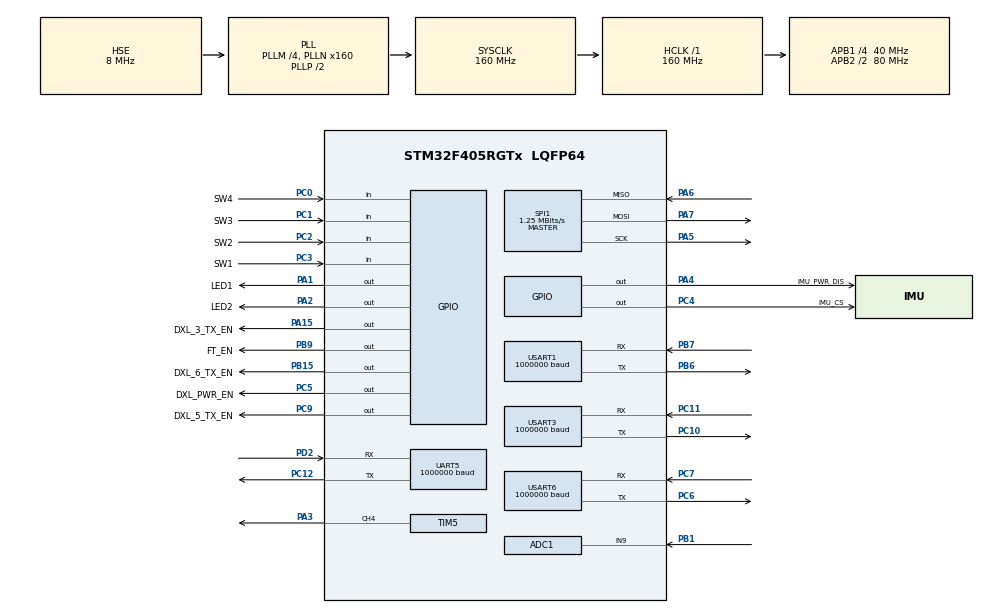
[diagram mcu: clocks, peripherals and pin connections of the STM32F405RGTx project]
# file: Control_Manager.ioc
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ADC1.Channel-0\#ChannelRegularConversion=ADC_CHANNEL_9
ADC1.ClockPrescaler=ADC_CLOCK_SYNC_PCLK_DIV4
ADC1.ContinuousConvMode=DISABLE
ADC1.DMAContinuousRequests=DISABLE
ADC1.DataAlign=ADC_DATAALIGN_RIGHT
ADC1.DiscontinuousConvMode=DISABLE
ADC1.EOCSelection=ADC_EOC_SINGLE_CONV
ADC1.EnableAnalogWatchDog=false
ADC1.ExternalTrigConv=ADC_SOFTWARE_START
ADC1.ExternalTrigConvEdge=ADC_EXTERNALTRIGCONVEDGE_NONE
ADC1.InjNumberOfConversion=0
ADC1.NbrOfConversion=1
ADC1.NbrOfConversionFlag=1
ADC1.Rank-0\#ChannelRegularConversion=1
ADC1.Resolution=ADC_RESOLUTION_8B
ADC1.SamplingTime-0\#ChannelRegularConversion=ADC_SAMPLETIME_3CYCLES
ADC1.ScanConvMode=DISABLE
ADC1.master=1
Mcu.Family=STM32F4
Mcu.Name=STM32F405RGTx
Mcu.Package=LQFP64
NVIC.PriorityGroup=NVIC_PRIORITYGROUP_2
NVIC.UART5_IRQn=true\:2\:1\:true\:false\:true\:true\:true\:true
NVIC.USART1_IRQn=true\:1\:0\:true\:false\:true\:true\:true\:true
NVIC.USART3_IRQn=true\:2\:0\:true\:false\:true\:true\:true\:true
NVIC.USART6_IRQn=true\:2\:2\:true\:false\:true\:true\:true\:true
PA1.GPIO_Label=LED1
PA1.GPIO_Speed=GPIO_SPEED_FREQ_MEDIUM
PA1.Signal=GPIO_Output
PA13.Mode=Serial_Wire
PA13.Signal=SYS_JTMS-SWDIO
PA14.Mode=Serial_Wire
PA14.Signal=SYS_JTCK-SWCLK
PA15.GPIO_Label=DXL_3_TX_EN
PA15.GPIO_Speed=GPIO_SPEED_FREQ_HIGH
PA15.Signal=GPIO_Output
PA2.GPIO_Label=LED2
PA2.GPIO_Speed=GPIO_SPEED_FREQ_MEDIUM
PA2.Signal=GPIO_Output
PA3.Signal=S_TIM5_CH4
PA4.GPIO_Label=IMU_PWR_DIS
PA4.GPIO_ModeDefaultOutputPP=GPIO_MODE_OUTPUT_OD
PA4.Signal=GPIO_Output
PA5.Mode=Full_Duplex_Master
PA5.Signal=SPI1_SCK
PA6.Mode=Full_Duplex_Master
PA6.Signal=SPI1_MISO
PA7.Mode=Full_Duplex_Master
PA7.Signal=SPI1_MOSI
PB1.Signal=ADCx_IN9
PB15.GPIO_Label=DXL_6_TX_EN
PB15.GPIO_Speed=GPIO_SPEED_FREQ_HIGH
PB15.Signal=GPIO_Output
PB6.Mode=Asynchronous
PB6.Signal=USART1_TX
PB7.Mode=Asynchronous
PB7.Signal=USART1_RX
PB9.GPIO_Label=FT_EN
PB9.GPIO_ModeDefaultOutputPP=GPIO_MODE_OUTPUT_OD
PB9.Signal=GPIO_Output
PC0.GPIO_Label=SW4
PC0.GPIO_PuPd=GPIO_NOPULL
PC0.Signal=GPIO_Input
PC1.GPIO_Label=SW3
PC1.GPIO_PuPd=GPIO_NOPULL
PC1.Signal=GPIO_Input
PC10.Mode=Asynchronous
PC10.Signal=USART3_TX
PC11.Mode=Asynchronous
PC11.Signal=USART3_RX
PC12.Mode=Asynchronous
PC12.Signal=UART5_TX
PC2.GPIO_Label=SW2
PC2.GPIO_PuPd=GPIO_NOPULL
PC2.Signal=GPIO_Input
PC3.GPIO_Label=SW1
PC3.GPIO_PuPd=GPIO_NOPULL
PC3.Signal=GPIO_Input
PC4.GPIO_Label=IMU_CS
PC4.GPIO_PuPd=GPIO_PULLUP
PC4.GPIO_Speed=GPIO_SPEED_FREQ_VERY_HIGH
PC4.Signal=GPIO_Output
PC5.GPIO_Label=DXL_PWR_EN
PC5.GPIO_PuPd=GPIO_PULLDOWN
PC5.GPIO_Speed=GPIO_SPEED_FREQ_LOW
PC5.Signal=GPIO_Output
PC6.Mode=Asynchronous
PC6.Signal=USART6_TX
PC7.Mode=Asynchronous
PC7.Signal=USART6_RX
PC9.GPIO_Label=DXL_5_TX_EN
PC9.GPIO_Speed=GPIO_SPEED_FREQ_HIGH
PC9.Signal=GPIO_Output
PD2.Mode=Asynchronous
PD2.Signal=UART5_RX
PH0-OSC_IN.Mode=HSE-External-Oscillator
PH0-OSC_IN.Signal=RCC_OSC_IN
PH1-OSC_OUT.Mode=HSE-External-Oscillator
PH1-OSC_OUT.Signal=RCC_OSC_OUT
ProjectManager.HeapSize=0x1000
ProjectManager.StackSize=0x2000
ProjectManager.TargetToolchain=MDK-ARM V5
RCC.48MHZClocksFreq_Value=80000000
RCC.AHBFreq_Value=160000000
RCC.APB1CLKDivider=RCC_HCLK_DIV4
RCC.APB1Freq_Value=40000000
RCC.APB1TimFreq_Value=80000000
RCC.APB2CLKDivider=RCC_HCLK_DIV2
RCC.APB2Freq_Value=80000000
RCC.APB2TimFreq_Value=160000000
RCC.CortexFreq_Value=160000000
RCC.HCLKFreq_Value=160000000
RCC.HSE_VALUE=8000000
RCC.HSI_VALUE=16000000
RCC.LSE_VALUE=32768
RCC.PLLM=4
RCC.PLLN=160
RCC.PLLSourceVirtual=RCC_PLLSOURCE_HSE
RCC.SYSCLKFreq_VALUE=160000000
RCC.SYSCLKSource=RCC_SYSCLKSOURCE_PLLCLK
RCC.VCOOutputFreq_Value=320000000
SH.ADCx_IN9.0=ADC1_IN9,IN9
SH.S_TIM5_CH4.0=TIM5_CH4,PWM Generation4 CH4
SPI1.BaudRatePrescaler=SPI_BAUDRATEPRESCALER_64
SPI1.CLKPolarity=SPI_POLARITY_LOW
SPI1.CalculateBaudRate=1.25 MBits/s
SPI1.Direction=SPI_DIRECTION_2LINES
SPI1.Mode=SPI_MODE_MASTER
SPI1.VirtualType=VM_MASTER
TIM2.Period=4000000000
TIM2.Prescaler=9
TIM5.Channel-PWM\ Generation4\ CH4=TIM_CHANNEL_4
TIM5.Period=2000
TIM5.Prescaler=40000
TIM5.Pulse-PWM\ Generation4\ CH4=250
UART5.BaudRate=1000000
UART5.VirtualMode=Asynchronous
USART1.BaudRate=1000000
USART1.VirtualMode=VM_ASYNC
USART3.BaudRate=1000000
USART3.VirtualMode=VM_ASYNC
USART6.BaudRate=1000000
USART6.VirtualMode=VM_ASYNC
VP_TIM2_VS_ClockSourceINT.Mode=Internal
board=Control_Manager

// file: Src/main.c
/* USER CODE BEGIN Header */
/**
  ******************************************************************************
  * @file           : main.c
  * @brief          : Main program body
  ******************************************************************************
  * @attention
  *
  * Copyright (c) 2022 STMicroelectronics.
  * All rights reserved.
  *
  * This software is licensed under terms that can be found in the LICENSE file
  * in the root directory of this software component.
  * If no LICENSE file comes with this software, it is provided AS-IS.
  *
  ******************************************************************************
  */
/* USER CODE END Header */
#include "main.h"

/* USER CODE BEGIN Includes */
#include "HAL_MPU9250.h"
#include "sbzrgnCM.h"
#include "attitude_estimator.hpp"
#include "eeprom.h"

//#define TEENSIZE
#define KIDSIZE

#define M_PI                3.1415926535897932384626433832795
#define QUEUE_SIZE					30
#define ZERO_MAX            20
#define ZERO_MIN           -20
#define BATT_TRESHOLD       11
#define BATT_SCALE          0.054

using namespace stateestimation;
/* USER CODE END Includes */

 ADC_HandleTypeDef hadc1;

SPI_HandleTypeDef hspi1;

TIM_HandleTypeDef htim2;
TIM_HandleTypeDef htim5;

UART_HandleTypeDef huart5;
UART_HandleTypeDef huart1;
UART_HandleTypeDef huart3;
UART_HandleTypeDef huart6;

/* USER CODE BEGIN PV */
/* Private variables ---------------------------------------------------------*/
MPU9250TypeDef MPU9250;

USBLineTypeDef MasterLine1 ; // USART1 (MainBoard)

UARTLineTypeDef SlaveLine1 ; // USART3

UARTLineTypeDef SlaveLine2 ; // USART5

UARTLineTypeDef SlaveLine3 ; // USART6

AttitudeEstimator Est(true);
///////////////////////////////////////////////////////////////////////////////////////////////////
double SB_Timer_Value = 0;
double SB_Timer_Scale = 0;
///////////////////////////////////////////////////////////////////////////////////////////////////
uint8_t Switch1_State = 0;
uint8_t Switch2_State = 0;
uint8_t Switch3_State = 0;
uint8_t Switch4_State = 0;
///////////////////////////////////////////////////////////////////////////////////////////////////
double BatteryVoltage = 0;
uint8_t Shifted_BatteryVoltage = 0;
uint16_t SB_LowBatteryCounter = 0;
uint16_t SB_BuzzerState = 0;
///////////////////////////////////////////////////////////////////////////////////////////////////
uint8_t IMU_Buffer[14] = {0,0,0,0,0,0,0,0,0,0,0,0,0,0};
uint16_t CHECK = 0;

double Roll = 0, Pitch = 0, Yaw = 0;
uint16_t Shifted_Roll = 0, Shifted_Pitch = 0, Shifted_Yaw = 0;

int16_t Raw_Accel[3] = {0,0,0};
uint16_t Shifted_Accel_X = 0, Shifted_Accel_Y = 0, Shifted_Accel_Z = 0;
int16_t Last_Raw_Accel_X = 0, Last_Raw_Accel_Y = 0, Last_Raw_Accel_Z = 0;
double AX = 0, AY = 0, AZ = 0;

int16_t Raw_Gyro[3] = {0,0,0};
uint16_t Shifted_Gyro_X = 0, Shifted_Gyro_Y = 0, Shifted_Gyro_Z = 0;
int16_t Last_Raw_Gyro_X = 0, Last_Raw_Gyro_Y = 0, Last_Raw_Gyro_Z = 0;
double GX = 0, GY = 0, GZ = 0;
uint8_t CalibCounter = 0;
///////////////////////////////////////////////////////////////////////////////////////////////////
uint16_t Loop_Counter = 0;
uint8_t nReadyPackets = 0;
int16_t lastSentIndex = -1;
uint16_t Queue[QUEUE_SIZE];
uint8_t MainBoard_ResponsePacket[100];
uint8_t LookupTable[200];

int16_t GX_Off = 0, GY_Off = 0, GZ_Off = 0, AX_Off = 0, AY_Off = 0, AZ_Off = 0;
int16_t EERead_GX_OFF, EERead_GY_OFF, EERead_GZ_OFF, EERead_AX_OFF, EERead_AY_OFF, EERead_AZ_OFF;
uint8_t Calibrated;
/* USER CODE END PV */

void SystemClock_Config(void);
static void MX_GPIO_Init(void);
static void MX_ADC1_Init(void);
static void MX_USART6_UART_Init(void);
static void MX_TIM2_Init(void);
static void MX_TIM5_Init(void);
static void MX_SPI1_Init(void);
static void MX_UART5_Init(void);
static void MX_USART3_UART_Init(void);
static void MX_USART1_UART_Init(void);
/* USER CODE BEGIN PFP */
/* Private function prototypes -----------------------------------------------*/
uint8_t Master_CheckPacket(UART_HandleTypeDef *UARTx, USBLineTypeDef* master);
SB_StatusTypeDef Slave_CheckPacket(UART_HandleTypeDef *UARTx, UARTLineTypeDef* slave);
void MainBoard_ReadRegister(uint8_t *packet);
void MainBoard_WriteRegister(uint8_t *packet);
void Queue_Data_Send(void);
uint8_t DXL_CheckSumCalc(uint8_t *packet);
void IMU_PWR_Reset(void);
void IMU_Init(void);
void IMU_Filter_Init(void);
void IMU_Update(void);
void IMU_Filter_Update(void);
void Button_Update(void);
double ReadVoltage(void);
void Battery_Update(void);
void LookUpTable_Update(void);
void Struct_Initializer(USBLineTypeDef* stct);
void Debugger(void);
void Calibration_Init(void);
void Calibration(void);
void set_offset(void);
/* USER CODE END PFP */

int main(void)
{

  /* MCU Configuration--------------------------------------------------------*/

  /* Reset of all peripherals, Initializes the Flash interface and the Systick. */
  HAL_Init();

  /* Configure the system clock */
  SystemClock_Config();

  /* USER CODE BEGIN SysInit */
	HAL_FLASH_Unlock();
	EE_Init();
  /* USER CODE END SysInit */

  /* Initialize all configured peripherals */
  MX_GPIO_Init();
  MX_ADC1_Init();
  MX_USART6_UART_Init();
  MX_TIM2_Init();
  MX_TIM5_Init();
  MX_SPI1_Init();
  MX_UART5_Init();
  MX_USART3_UART_Init();
  MX_USART1_UART_Init();
  /* USER CODE BEGIN 2 */
	//Buffer Configration
	Struct_Initializer(&MasterLine1);

	SlaveLine1.BufferCurrentIndex = 0;
	SlaveLine1.CurrentState = 0;
	SlaveLine1.Length = 0;

	SlaveLine2.BufferCurrentIndex = 0;
	SlaveLine2.CurrentState = 0;
	SlaveLine2.Length = 0;

	SlaveLine3.BufferCurrentIndex = 0;
	SlaveLine3.CurrentState = 0;
	SlaveLine3.Length = 0;

	MainBoard_ResponsePacket[0] = 255;
	MainBoard_ResponsePacket[1] = 255;
	MainBoard_ResponsePacket[2] = MY_ID;

	IMU_Init();

	IMU_Filter_Init();

	//Calibration();

	HAL_UART_Receive_IT(&huart3, &SlaveLine1.InputData, 1);
	HAL_UART_Receive_IT(&huart5, &SlaveLine2.InputData, 1);
	HAL_UART_Receive_IT(&huart6, &SlaveLine3.InputData, 1);
	HAL_UART_Receive_IT(&huart1, &MasterLine1.InputData, 1);

	HAL_GPIO_WritePin(FT_EN_GPIO_Port,FT_EN_Pin,GPIO_PIN_SET);

	EE_ReadVariable(0, &EERead_GX_OFF);
	EE_ReadVariable(1, &EERead_GY_OFF);
	EE_ReadVariable(2, &EERead_GZ_OFF);
	EE_ReadVariable(3, &EERead_AX_OFF);
	EE_ReadVariable(4, &EERead_AY_OFF);
	EE_ReadVariable(5, &EERead_AZ_OFF);

  /* USER CODE END 2 */

  /* Infinite loop */
  while (1)
  {

    /* USER CODE BEGIN 3 */
		Button_Update();

		IMU_Update();

		IMU_Filter_Update();

		Battery_Update();

		if(Loop_Counter == 2000)
		{
			//TeeeeEST
			HAL_GPIO_TogglePin(LED1_GPIO_Port,LED1_Pin);
			HAL_GPIO_TogglePin(LED2_GPIO_Port,LED2_Pin);
			//TeeeeEST
			Loop_Counter = 0;
		}
		Loop_Counter++;

		LookUpTable_Update();

		Debugger();
  }
  /* USER CODE END 3 */
}

void SystemClock_Config(void)
{
  RCC_OscInitTypeDef RCC_OscInitStruct = {0};
  RCC_ClkInitTypeDef RCC_ClkInitStruct = {0};

  /** Configure the main internal regulator output voltage
  */
  __HAL_RCC_PWR_CLK_ENABLE();
  __HAL_PWR_VOLTAGESCALING_CONFIG(PWR_REGULATOR_VOLTAGE_SCALE1);

  /** Initializes the RCC Oscillators according to the specified parameters
  * in the RCC_OscInitTypeDef structure.
  */
  RCC_OscInitStruct.OscillatorType = RCC_OSCILLATORTYPE_HSE;
  RCC_OscInitStruct.HSEState = RCC_HSE_ON;
  RCC_OscInitStruct.PLL.PLLState = RCC_PLL_ON;
  RCC_OscInitStruct.PLL.PLLSource = RCC_PLLSOURCE_HSE;
  RCC_OscInitStruct.PLL.PLLM = 4;
  RCC_OscInitStruct.PLL.PLLN = 160;
  RCC_OscInitStruct.PLL.PLLP = RCC_PLLP_DIV2;
  RCC_OscInitStruct.PLL.PLLQ = 4;
  if (HAL_RCC_OscConfig(&RCC_OscInitStruct) != HAL_OK)
  {
    Error_Handler();
  }

  /** Initializes the CPU, AHB and APB buses clocks
  */
  RCC_ClkInitStruct.ClockType = RCC_CLOCKTYPE_HCLK|RCC_CLOCKTYPE_SYSCLK
                              |RCC_CLOCKTYPE_PCLK1|RCC_CLOCKTYPE_PCLK2;
  RCC_ClkInitStruct.SYSCLKSource = RCC_SYSCLKSOURCE_PLLCLK;
  RCC_ClkInitStruct.AHBCLKDivider = RCC_SYSCLK_DIV1;
  RCC_ClkInitStruct.APB1CLKDivider = RCC_HCLK_DIV4;
  RCC_ClkInitStruct.APB2CLKDivider = RCC_HCLK_DIV2;

  if (HAL_RCC_ClockConfig(&RCC_ClkInitStruct, FLASH_LATENCY_5) != HAL_OK)
  {
    Error_Handler();
  }
}

static void MX_ADC1_Init(void)
{

  ADC_ChannelConfTypeDef sConfig = {0};

  /** Configure the global features of the ADC (Clock, Resolution, Data Alignment and number of conversion)
  */
  hadc1.Instance = ADC1;
  hadc1.Init.ClockPrescaler = ADC_CLOCK_SYNC_PCLK_DIV4;
  hadc1.Init.Resolution = ADC_RESOLUTION_8B;
  hadc1.Init.ScanConvMode = DISABLE;
  hadc1.Init.ContinuousConvMode = DISABLE;
  hadc1.Init.DiscontinuousConvMode = DISABLE;
  hadc1.Init.ExternalTrigConvEdge = ADC_EXTERNALTRIGCONVEDGE_NONE;
  hadc1.Init.ExternalTrigConv = ADC_SOFTWARE_START;
  hadc1.Init.DataAlign = ADC_DATAALIGN_RIGHT;
  hadc1.Init.NbrOfConversion = 1;
  hadc1.Init.DMAContinuousRequests = DISABLE;
  hadc1.Init.EOCSelection = ADC_EOC_SINGLE_CONV;
  if (HAL_ADC_Init(&hadc1) != HAL_OK)
  {
    Error_Handler();
  }

  /** Configure for the selected ADC regular channel its corresponding rank in the sequencer and its sample time.
  */
  sConfig.Channel = ADC_CHANNEL_9;
  sConfig.Rank = 1;
  sConfig.SamplingTime = ADC_SAMPLETIME_3CYCLES;
  if (HAL_ADC_ConfigChannel(&hadc1, &sConfig) != HAL_OK)
  {
    Error_Handler();
  }

}

static void MX_SPI1_Init(void)
{

  /* SPI1 parameter configuration*/
  hspi1.Instance = SPI1;
  hspi1.Init.Mode = SPI_MODE_MASTER;
  hspi1.Init.Direction = SPI_DIRECTION_2LINES;
  hspi1.Init.DataSize = SPI_DATASIZE_8BIT;
  hspi1.Init.CLKPolarity = SPI_POLARITY_LOW;
  hspi1.Init.CLKPhase = SPI_PHASE_1EDGE;
  hspi1.Init.NSS = SPI_NSS_SOFT;
  hspi1.Init.BaudRatePrescaler = SPI_BAUDRATEPRESCALER_64;
  hspi1.Init.FirstBit = SPI_FIRSTBIT_MSB;
  hspi1.Init.TIMode = SPI_TIMODE_DISABLE;
  hspi1.Init.CRCCalculation = SPI_CRCCALCULATION_DISABLE;
  hspi1.Init.CRCPolynomial = 10;
  if (HAL_SPI_Init(&hspi1) != HAL_OK)
  {
    Error_Handler();
  }

}

static void MX_TIM2_Init(void)
{

  TIM_ClockConfigTypeDef sClockSourceConfig = {0};
  TIM_MasterConfigTypeDef sMasterConfig = {0};

  htim2.Instance = TIM2;
  htim2.Init.Prescaler = 9;
  htim2.Init.CounterMode = TIM_COUNTERMODE_UP;
  htim2.Init.Period = 4000000000;
  htim2.Init.ClockDivision = TIM_CLOCKDIVISION_DIV1;
  htim2.Init.AutoReloadPreload = TIM_AUTORELOAD_PRELOAD_DISABLE;
  if (HAL_TIM_Base_Init(&htim2) != HAL_OK)
  {
    Error_Handler();
  }
  sClockSourceConfig.ClockSource = TIM_CLOCKSOURCE_INTERNAL;
  if (HAL_TIM_ConfigClockSource(&htim2, &sClockSourceConfig) != HAL_OK)
  {
    Error_Handler();
  }
  sMasterConfig.MasterOutputTrigger = TIM_TRGO_RESET;
  sMasterConfig.MasterSlaveMode = TIM_MASTERSLAVEMODE_DISABLE;
  if (HAL_TIMEx_MasterConfigSynchronization(&htim2, &sMasterConfig) != HAL_OK)
  {
    Error_Handler();
  }

}

static void MX_TIM5_Init(void)
{

  TIM_MasterConfigTypeDef sMasterConfig = {0};
  TIM_OC_InitTypeDef sConfigOC = {0};

  htim5.Instance = TIM5;
  htim5.Init.Prescaler = 40000;
  htim5.Init.CounterMode = TIM_COUNTERMODE_UP;
  htim5.Init.Period = 2000;
  htim5.Init.ClockDivision = TIM_CLOCKDIVISION_DIV1;
  htim5.Init.AutoReloadPreload = TIM_AUTORELOAD_PRELOAD_DISABLE;
  if (HAL_TIM_PWM_Init(&htim5) != HAL_OK)
  {
    Error_Handler();
  }
  sMasterConfig.MasterOutputTrigger = TIM_TRGO_RESET;
  sMasterConfig.MasterSlaveMode = TIM_MASTERSLAVEMODE_DISABLE;
  if (HAL_TIMEx_MasterConfigSynchronization(&htim5, &sMasterConfig) != HAL_OK)
  {
    Error_Handler();
  }
  sConfigOC.OCMode = TIM_OCMODE_PWM1;
  sConfigOC.Pulse = 250;
  sConfigOC.OCPolarity = TIM_OCPOLARITY_HIGH;
  sConfigOC.OCFastMode = TIM_OCFAST_DISABLE;
  if (HAL_TIM_PWM_ConfigChannel(&htim5, &sConfigOC, TIM_CHANNEL_4) != HAL_OK)
  {
    Error_Handler();
  }
  HAL_TIM_MspPostInit(&htim5);

}

static void MX_UART5_Init(void)
{

  huart5.Instance = UART5;
  huart5.Init.BaudRate = 1000000;
  huart5.Init.WordLength = UART_WORDLENGTH_8B;
  huart5.Init.StopBits = UART_STOPBITS_1;
  huart5.Init.Parity = UART_PARITY_NONE;
  huart5.Init.Mode = UART_MODE_TX_RX;
  huart5.Init.HwFlowCtl = UART_HWCONTROL_NONE;
  huart5.Init.OverSampling = UART_OVERSAMPLING_16;
  if (HAL_UART_Init(&huart5) != HAL_OK)
  {
    Error_Handler();
  }

}

static void MX_USART1_UART_Init(void)
{

  huart1.Instance = USART1;
  huart1.Init.BaudRate = 1000000;
  huart1.Init.WordLength = UART_WORDLENGTH_8B;
  huart1.Init.StopBits = UART_STOPBITS_1;
  huart1.Init.Parity = UART_PARITY_NONE;
  huart1.Init.Mode = UART_MODE_TX_RX;
  huart1.Init.HwFlowCtl = UART_HWCONTROL_NONE;
  huart1.Init.OverSampling = UART_OVERSAMPLING_16;
  if (HAL_UART_Init(&huart1) != HAL_OK)
  {
    Error_Handler();
  }

}

static void MX_USART3_UART_Init(void)
{

  huart3.Instance = USART3;
  huart3.Init.BaudRate = 1000000;
  huart3.Init.WordLength = UART_WORDLENGTH_8B;
  huart3.Init.StopBits = UART_STOPBITS_1;
  huart3.Init.Parity = UART_PARITY_NONE;
  huart3.Init.Mode = UART_MODE_TX_RX;
  huart3.Init.HwFlowCtl = UART_HWCONTROL_NONE;
  huart3.Init.OverSampling = UART_OVERSAMPLING_16;
  if (HAL_UART_Init(&huart3) != HAL_OK)
  {
    Error_Handler();
  }

}

static void MX_USART6_UART_Init(void)
{

  huart6.Instance = USART6;
  huart6.Init.BaudRate = 1000000;
  huart6.Init.WordLength = UART_WORDLENGTH_8B;
  huart6.Init.StopBits = UART_STOPBITS_1;
  huart6.Init.Parity = UART_PARITY_NONE;
  huart6.Init.Mode = UART_MODE_TX_RX;
  huart6.Init.HwFlowCtl = UART_HWCONTROL_NONE;
  huart6.Init.OverSampling = UART_OVERSAMPLING_16;
  if (HAL_UART_Init(&huart6) != HAL_OK)
  {
    Error_Handler();
  }

}

static void MX_GPIO_Init(void)
{
  GPIO_InitTypeDef GPIO_InitStruct = {0};

  /* GPIO Ports Clock Enable */
  __HAL_RCC_GPIOC_CLK_ENABLE();
  __HAL_RCC_GPIOH_CLK_ENABLE();
  __HAL_RCC_GPIOA_CLK_ENABLE();
  __HAL_RCC_GPIOB_CLK_ENABLE();
  __HAL_RCC_GPIOD_CLK_ENABLE();

  /*Configure GPIO pin Output Level */
  HAL_GPIO_WritePin(GPIOA, LED1_Pin|LED2_Pin|IMU_PWR_DIS_Pin|DXL_3_TX_EN_Pin, GPIO_PIN_RESET);

  /*Configure GPIO pin Output Level */
  HAL_GPIO_WritePin(GPIOC, IMU_CS_Pin|DXL_PWR_EN_Pin|DXL_5_TX_EN_Pin, GPIO_PIN_RESET);

  /*Configure GPIO pin Output Level */
  HAL_GPIO_WritePin(GPIOB, DXL_6_TX_EN_Pin|FT_EN_Pin, GPIO_PIN_RESET);

  /*Configure GPIO pins : PC13 PC14 PC15 PC8 */
  GPIO_InitStruct.Pin = GPIO_PIN_13|GPIO_PIN_14|GPIO_PIN_15|GPIO_PIN_8;
  GPIO_InitStruct.Mode = GPIO_MODE_ANALOG;
  GPIO_InitStruct.Pull = GPIO_NOPULL;
  HAL_GPIO_Init(GPIOC, &GPIO_InitStruct);

  /*Configure GPIO pins : SW4_Pin SW3_Pin SW2_Pin SW1_Pin */
  GPIO_InitStruct.Pin = SW4_Pin|SW3_Pin|SW2_Pin|SW1_Pin;
  GPIO_InitStruct.Mode = GPIO_MODE_INPUT;
  GPIO_InitStruct.Pull = GPIO_NOPULL;
  HAL_GPIO_Init(GPIOC, &GPIO_InitStruct);

  /*Configure GPIO pins : PA0 PA8 PA9 PA10
                           PA11 PA12 */
  GPIO_InitStruct.Pin = GPIO_PIN_0|GPIO_PIN_8|GPIO_PIN_9|GPIO_PIN_10
                          |GPIO_PIN_11|GPIO_PIN_12;
  GPIO_InitStruct.Mode = GPIO_MODE_ANALOG;
  GPIO_InitStruct.Pull = GPIO_NOPULL;
  HAL_GPIO_Init(GPIOA, &GPIO_InitStruct);

  /*Configure GPIO pins : LED1_Pin LED2_Pin */
  GPIO_InitStruct.Pin = LED1_Pin|LED2_Pin;
  GPIO_InitStruct.Mode = GPIO_MODE_OUTPUT_PP;
  GPIO_InitStruct.Pull = GPIO_NOPULL;
  GPIO_InitStruct.Speed = GPIO_SPEED_FREQ_MEDIUM;
  HAL_GPIO_Init(GPIOA, &GPIO_InitStruct);

  /*Configure GPIO pin : IMU_PWR_DIS_Pin */
  GPIO_InitStruct.Pin = IMU_PWR_DIS_Pin;
  GPIO_InitStruct.Mode = GPIO_MODE_OUTPUT_OD;
  GPIO_InitStruct.Pull = GPIO_NOPULL;
  GPIO_InitStruct.Speed = GPIO_SPEED_FREQ_LOW;
  HAL_GPIO_Init(IMU_PWR_DIS_GPIO_Port, &GPIO_InitStruct);

  /*Configure GPIO pin : IMU_CS_Pin */
  GPIO_InitStruct.Pin = IMU_CS_Pin;
  GPIO_InitStruct.Mode = GPIO_MODE_OUTPUT_PP;
  GPIO_InitStruct.Pull = GPIO_PULLUP;
  GPIO_InitStruct.Speed = GPIO_SPEED_FREQ_VERY_HIGH;
  HAL_GPIO_Init(IMU_CS_GPIO_Port, &GPIO_InitStruct);

  /*Configure GPIO pin : DXL_PWR_EN_Pin */
  GPIO_InitStruct.Pin = DXL_PWR_EN_Pin;
  GPIO_InitStruct.Mode = GPIO_MODE_OUTPUT_PP;
  GPIO_InitStruct.Pull = GPIO_PULLDOWN;
  GPIO_InitStruct.Speed = GPIO_SPEED_FREQ_LOW;
  HAL_GPIO_Init(DXL_PWR_EN_GPIO_Port, &GPIO_InitStruct);

  /*Configure GPIO pins : PB0 PB2 PB10 PB11
                           PB12 PB13 PB14 PB3
                           PB4 PB5 PB8 */
  GPIO_InitStruct.Pin = GPIO_PIN_0|GPIO_PIN_2|GPIO_PIN_10|GPIO_PIN_11
                          |GPIO_PIN_12|GPIO_PIN_13|GPIO_PIN_14|GPIO_PIN_3
                          |GPIO_PIN_4|GPIO_PIN_5|GPIO_PIN_8;
  GPIO_InitStruct.Mode = GPIO_MODE_ANALOG;
  GPIO_InitStruct.Pull = GPIO_NOPULL;
  HAL_GPIO_Init(GPIOB, &GPIO_InitStruct);

  /*Configure GPIO pin : DXL_6_TX_EN_Pin */
  GPIO_InitStruct.Pin = DXL_6_TX_EN_Pin;
  GPIO_InitStruct.Mode = GPIO_MODE_OUTPUT_PP;
  GPIO_InitStruct.Pull = GPIO_NOPULL;
  GPIO_InitStruct.Speed = GPIO_SPEED_FREQ_HIGH;
  HAL_GPIO_Init(DXL_6_TX_EN_GPIO_Port, &GPIO_InitStruct);

  /*Configure GPIO pin : DXL_5_TX_EN_Pin */
  GPIO_InitStruct.Pin = DXL_5_TX_EN_Pin;
  GPIO_InitStruct.Mode = GPIO_MODE_OUTPUT_PP;
  GPIO_InitStruct.Pull = GPIO_NOPULL;
  GPIO_InitStruct.Speed = GPIO_SPEED_FREQ_HIGH;
  HAL_GPIO_Init(DXL_5_TX_EN_GPIO_Port, &GPIO_InitStruct);

  /*Configure GPIO pin : DXL_3_TX_EN_Pin */
  GPIO_InitStruct.Pin = DXL_3_TX_EN_Pin;
  GPIO_InitStruct.Mode = GPIO_MODE_OUTPUT_PP;
  GPIO_InitStruct.Pull = GPIO_NOPULL;
  GPIO_InitStruct.Speed = GPIO_SPEED_FREQ_HIGH;
  HAL_GPIO_Init(DXL_3_TX_EN_GPIO_Port, &GPIO_InitStruct);

  /*Configure GPIO pin : FT_EN_Pin */
  GPIO_InitStruct.Pin = FT_EN_Pin;
  GPIO_InitStruct.Mode = GPIO_MODE_OUTPUT_OD;
  GPIO_InitStruct.Pull = GPIO_NOPULL;
  GPIO_InitStruct.Speed = GPIO_SPEED_FREQ_LOW;
  HAL_GPIO_Init(FT_EN_GPIO_Port, &GPIO_InitStruct);

}

/* USER CODE BEGIN 4 */
//////////////////////////////////////////////////////////////////////////////////////////////////////////////////////////
//UART receive callbback
//////////////////////////////////////////////////////////////////////////////////////////////////////////////////////////
void HAL_UART_RxCpltCallback(UART_HandleTypeDef *huart)
{
//---------------------------------------------------
	if(huart ->Instance == USART1) // USART1 >>>>> MasterLine1
	{
		//uint8_t *bufferEL=&buffer[bufferlastindex]; // mahze ettlea baraye ayande
		uint8_t packetLength = Master_CheckPacket(huart, &MasterLine1);

		if(MasterLine1.Buffer[MasterLine1.BufferLastIndex+2] == MY_ID)
		{
			if(DXL_CheckSumCalc(&MasterLine1.Buffer[MasterLine1.BufferLastIndex]) == MasterLine1.Buffer[MasterLine1.BufferLastIndex+packetLength-1])
			{
				switch(MasterLine1.Buffer[MasterLine1.BufferLastIndex+4])
				{
					case DXL_READ_DATA:
						MainBoard_ReadRegister(&MasterLine1.Buffer[MasterLine1.BufferLastIndex]);
					break;
					case DXL_WRITE_DATA:
						if(MasterLine1.Buffer[MasterLine1.BufferLastIndex+5] == 0x18 && MasterLine1.Buffer[MasterLine1.BufferLastIndex+6] == 0x01)
						{
							HAL_GPIO_WritePin(DXL_PWR_EN_GPIO_Port, DXL_PWR_EN_Pin, GPIO_PIN_SET);
							Est.reset(1,1);
						}
						else if (MasterLine1.Buffer[MasterLine1.BufferLastIndex+5] == 0x18 && MasterLine1.Buffer[MasterLine1.BufferLastIndex+6] == 0x00)
						{
							HAL_GPIO_WritePin(DXL_PWR_EN_GPIO_Port, DXL_PWR_EN_Pin, GPIO_PIN_RESET);
						}
						else if(MasterLine1.Buffer[MasterLine1.BufferLastIndex+5] == 0x4A && MasterLine1.Buffer[MasterLine1.BufferLastIndex+6] == 0x01)
						{
							CalibCounter = 0;
							Calibration();
						}
						else
						{
							MainBoard_WriteRegister(&MasterLine1.Buffer[MasterLine1.BufferLastIndex]);
						}
					break;
				}
			}
		}
		else
		{
			Queue[nReadyPackets]= MasterLine1.BufferCurrentIndex - packetLength;
			nReadyPackets++;
			if(nReadyPackets >= QUEUE_SIZE)
			{
				nReadyPackets = QUEUE_SIZE;
			}
		}
		if((BUFFER_SIZE - (int16_t)MasterLine1.BufferCurrentIndex) < MAX_PACKET_SIZE)
		{
			MasterLine1.BufferCurrentIndex = 0;
			MasterLine1.BufferLastIndex = 0;
		}
		MasterLine1.BufferLastIndex = MasterLine1.BufferCurrentIndex;
		Queue_Data_Send();
	}
//----------------------------------------------------------------
	else if(huart ->Instance == USART3)
	{
		if(Slave_CheckPacket(&huart3, &SlaveLine1) == SB_OK)
		{
			HAL_UART_Transmit_IT(&huart1, SlaveLine1.Buffer, SlaveLine1.Buffer[3]+4);
		}
	}
	else if (huart->Instance == UART5)
	{
		if(Slave_CheckPacket(&huart5, &SlaveLine2) == SB_OK)
		{
			HAL_UART_Transmit_IT(&huart1, SlaveLine2.Buffer, SlaveLine2.Buffer[3]+4);
		}
	}
	else if (huart->Instance == USART6)
	{
		if(Slave_CheckPacket(&huart6, &SlaveLine3) == SB_OK)
		{
			HAL_UART_Transmit_IT(&huart1, SlaveLine3.Buffer, SlaveLine3.Buffer[3]+4);
		}
	}
}
/////////////////////////////////////////////////////////////////////////////////////////////////////////////////
///////////////////////////////////////////////////////////////////////////////////////////////////////////////////////////
//UART transmit callback
///////////////////////////////////////////////////////////////////////////////////////////////////////////////////////////
void HAL_UART_TxCpltCallback(UART_HandleTypeDef *huart)
{
	if(huart->Instance == USART3)
	{
		HAL_GPIO_WritePin(DXL_3_TX_EN_GPIO_Port, DXL_3_TX_EN_Pin , GPIO_PIN_RESET);//Receive Enable
	}
	else if(huart->Instance == UART5)
	{
		HAL_GPIO_WritePin(DXL_5_TX_EN_GPIO_Port, DXL_5_TX_EN_Pin , GPIO_PIN_RESET);//Receive Enable
	}
	else if(huart->Instance == USART6)
	{
		HAL_GPIO_WritePin(DXL_6_TX_EN_GPIO_Port, DXL_6_TX_EN_Pin , GPIO_PIN_RESET);//Receive Enable
	}
	Queue_Data_Send();
}
/////////////////////////////////////////////////////////////////////////////////////////////////////////////////
///////////////////////////////////////////////////////////////////////////////////////////////////////////////////////////
//this function is used to extract dynamixel packet send by main board
///////////////////////////////////////////////////////////////////////////////////////////////////////////////////////////
uint8_t Master_CheckPacket(UART_HandleTypeDef *UARTx, USBLineTypeDef* master)
{
	if(HAL_UART_Receive_IT(UARTx, &master->InputData, 1) == HAL_OK)
	{
		master->Buffer[master->BufferCurrentIndex]=master->InputData;
		master->BufferCurrentIndex++;

		uint8_t packetLength = MasterLine1.Buffer[master->BufferLastIndex+3]+4;
		return packetLength;
	}
	return 0;
}
/////////////////////////////////////////////////////////////////////////////////////////////////////////////////
/////////////////////////////////////////////////////////////////////////////////////////////////////////////////
//this function is used to extract dynamixel packet send by DXL chain line
/////////////////////////////////////////////////////////////////////////////////////////////////////////////////
SB_StatusTypeDef Slave_CheckPacket(UART_HandleTypeDef *UARTx, UARTLineTypeDef* slave)
{
	if(HAL_UART_Receive_IT(UARTx, &slave->InputData , 1) == HAL_OK)
	{
		slave->Buffer[slave->BufferCurrentIndex] = slave->InputData;
		slave->BufferCurrentIndex ++;
		switch(slave->CurrentState)
		{
			case 0:
				if(slave->Buffer[0] == 0xFF) {slave->CurrentState = 1;}
				else {slave->CurrentState = 0;	slave->BufferCurrentIndex = 0;}
			break;

			case 1:
				if(slave->Buffer[1] == 0xFF) {slave->CurrentState = 2;}
  			else {slave->CurrentState = 0; slave->BufferCurrentIndex = 0;}
			break;

			case 2:
				if(slave->Buffer[2] != 0xFF) {slave->CurrentState = 3;}
  			else {slave->CurrentState = 0; slave->BufferCurrentIndex = 0;}
			break;

			case 3:
				if(slave->Buffer[3] > slave->Length) {slave->Length++;}
  			else
				{
					slave->Length = 0;
					slave->CurrentState = 0;
					slave->BufferCurrentIndex = 0;
					return SB_OK;
				}
			break;
		}
	}
	return SB_ERROR;
}
/////////////////////////////////////////////////////////////////////////////////////////////////////////////////
/////////////////////////////////////////////////////////////////////////////////////////////////////////////////
//ft send packet function
//packet[5] >> address of the registers to be read             packet[6] >> number of data to be read
/////////////////////////////////////////////////////////////////////////////////////////////////////////////////
void MainBoard_ReadRegister(uint8_t *packet)
{
	MainBoard_ResponsePacket[3] = packet[6] + 2;
	MainBoard_ResponsePacket[4] = DXL_Error;
	for(int8_t i = 0 ; i < packet[6] ; i++)
	{
		MainBoard_ResponsePacket[i + 5] = LookupTable[packet[5] + i];
	}
	MainBoard_ResponsePacket[packet[6] + 5] = DXL_CheckSumCalc(MainBoard_ResponsePacket);
	HAL_UART_Transmit_IT(&huart1,MainBoard_ResponsePacket, packet[6] + 6);
}
/////////////////////////////////////////////////////////////////////////////////////////////////////////////////
/////////////////////////////////////////////////////////////////////////////////////////////////////////////////
//writing data to the specified register
/////////////////////////////////////////////////////////////////////////////////////////////////////////////////
void MainBoard_WriteRegister(uint8_t *packet)
{
	uint8_t i;
	for(i = 0; i < packet[3] - 3; i++)
	{
		LookupTable[packet[5]+i] = packet[i+6];
	}
}
/////////////////////////////////////////////////////////////////////////////////////////////////////////////////
/////////////////////////////////////////////////////////////////////////////////////////////////////////////////
//This function is called whenever any ready packet whould be available
/////////////////////////////////////////////////////////////////////////////////////////////////////////////////
void Queue_Data_Send(void)
{
	if(nReadyPackets > 0 && huart3.gState == HAL_UART_STATE_READY && huart5.gState == HAL_UART_STATE_READY && huart6.gState == HAL_UART_STATE_READY)
	{
		uint8_t *data = &MasterLine1.Buffer[Queue[lastSentIndex+1]];

		HAL_GPIO_WritePin(DXL_3_TX_EN_GPIO_Port, DXL_3_TX_EN_Pin , GPIO_PIN_SET);//Transmit Enable
		HAL_GPIO_WritePin(DXL_5_TX_EN_GPIO_Port, DXL_5_TX_EN_Pin , GPIO_PIN_SET);//Transmit Enable
		HAL_GPIO_WritePin(DXL_6_TX_EN_GPIO_Port, DXL_6_TX_EN_Pin , GPIO_PIN_SET);//Transmit Enable

		HAL_UART_Transmit_IT(&huart3 , data , data[3]+4);//data transmision via interrupt
		HAL_UART_Transmit_IT(&huart5 , data , data[3]+4);//data transmision via interrupt
		HAL_UART_Transmit_IT(&huart6 , data , data[3]+4);//data transmision via interrupt

		nReadyPackets--;
		lastSentIndex++;
		if(nReadyPackets < 1 || lastSentIndex == QUEUE_SIZE)
		{
			lastSentIndex = -1;
		}
	}
}
/////////////////////////////////////////////////////////////////////////////////////////////////////////////////
/////////////////////////////////////////////////////////////////////////////////////////////////////////////////
//checksum calculation for input packet
//Note : in dynamixels frame the fourth byte (packet[3]) is always indicates the length of the packet
/////////////////////////////////////////////////////////////////////////////////////////////////////////////////
uint8_t DXL_CheckSumCalc(uint8_t *packet)
{
	uint8_t i;
	uint8_t checksum =0;
	for(i = 2; i < packet[3] + 3; i++)
	{
		checksum += packet[i];
	}
	checksum =~ checksum;
	return(checksum);
}
/////////////////////////////////////////////////////////////////////////////////////////////////////////////////
/////////////////////////////////////////////////////////////////////////////////////////////////////////////////
//IMU PWR Restart
/////////////////////////////////////////////////////////////////////////////////////////////////////////////////
void IMU_PWR_Reset(void)
{
	HAL_GPIO_WritePin(IMU_PWR_DIS_GPIO_Port,IMU_PWR_DIS_Pin,GPIO_PIN_SET);
		HAL_Delay(500);
	HAL_GPIO_WritePin(IMU_PWR_DIS_GPIO_Port,IMU_PWR_DIS_Pin,GPIO_PIN_RESET);
		HAL_Delay(500);
}
/////////////////////////////////////////////////////////////////////////////////////////////////////////////////
/////////////////////////////////////////////////////////////////////////////////////////////////////////////////
//IMU Init
/////////////////////////////////////////////////////////////////////////////////////////////////////////////////
void IMU_Init(void)
{
	MPU9250.Gyro_DLPF   = BW250_D970;
	MPU9250.Accel_DLPF  = BW218_D1880;
	MPU9250.Gyro_Range  = MPU9250_Gyroscope_2000;
	MPU9250.Accel_Range = MPU9250_Accelerometer_16;

	IMU_PWR_Reset();

	if(MPU9250_Init(&hspi1, &MPU9250) != MPU9250_RESULT_OK)
	{
		// GOTO IMU_ERROR HANDLER
	}
}
/////////////////////////////////////////////////////////////////////////////////////////////////////////////////
/////////////////////////////////////////////////////////////////////////////////////////////////////////////////
//IMU_Filter Init
/////////////////////////////////////////////////////////////////////////////////////////////////////////////////
void IMU_Filter_Init(void)
{
	//Configure Filter's Initial State
	Est.reset(1,1);
	Est.setPIGains(2.2, 2.65, 10.0, 1.25);
  Est.setQLTime(3.0);
  Est.setGyroBias(0.0, 0.0, 0.0);
  Est.setAccMethod(Est.ME_FUSED_YAW);
	//this timre is used to calculate time passed between every time "IMU_Filter_Update" called
	SB_Timer_Scale = (double) 1 / ((double) (HAL_RCC_GetPCLK1Freq() * 2) / (htim2.Init.Prescaler + 1));

	HAL_TIM_Base_Start_IT(&htim2);
	__HAL_TIM_SetCounter(&htim2,0);
}
/////////////////////////////////////////////////////////////////////////////////////////////////////////////////
/////////////////////////////////////////////////////////////////////////////////////////////////////////////////
//Update IMU Data
/////////////////////////////////////////////////////////////////////////////////////////////////////////////////
void IMU_Update(void)
{
	//Reading IMU Data in 8Bit
	MPU9250_ReadData(&hspi1, IMU_Buffer, MPU9250_ACCEL_XOUT_H, 6);
	//merging Data to get real IMU data
	Raw_Accel[0] = (int16_t)(IMU_Buffer[0] << 8 | IMU_Buffer[1]);
	Raw_Accel[1] = (int16_t)(IMU_Buffer[2] << 8 | IMU_Buffer[3]);
	Raw_Accel[2] = (int16_t)(IMU_Buffer[4] << 8 | IMU_Buffer[5]);
	MPU9250_ReadData(&hspi1, IMU_Buffer, MPU9250_GYRO_XOUT_H, 6);
	Raw_Gyro[0] = (int16_t)(IMU_Buffer[0] << 8 | IMU_Buffer[1]);
	Raw_Gyro[1] = (int16_t)(IMU_Buffer[2] << 8 | IMU_Buffer[3]);
	Raw_Gyro[2] = (int16_t)(IMU_Buffer[4] << 8 | IMU_Buffer[5]);

	//Removing Offset (extraxted using calibration function in OffLine mode)
	Raw_Gyro[0] += EERead_GX_OFF;
	Raw_Gyro[1] += EERead_GY_OFF;
	Raw_Gyro[2] += EERead_GZ_OFF;
	Raw_Accel[0] += EERead_AX_OFF;
	Raw_Accel[1] += EERead_AY_OFF;
	Raw_Accel[2] += EERead_AZ_OFF;
	//Removing Gyro's Noise around 0 state
	Raw_Gyro[0] = (Raw_Gyro[0] <= ZERO_MAX && Raw_Gyro[0] >= ZERO_MIN)? 0: Raw_Gyro[0];
	Raw_Gyro[1] = (Raw_Gyro[1] <= ZERO_MAX && Raw_Gyro[1] >= ZERO_MIN)? 0: Raw_Gyro[1];
	Raw_Gyro[2] = (Raw_Gyro[2] <= ZERO_MAX && Raw_Gyro[2] >= ZERO_MIN)? 0: Raw_Gyro[2];
}
/////////////////////////////////////////////////////////////////////////////////////////////////////////////////
/////////////////////////////////////////////////////////////////////////////////////////////////////////////////
//Update IMU Filter Data
/////////////////////////////////////////////////////////////////////////////////////////////////////////////////
void IMU_Filter_Update(void)
{
	if( Last_Raw_Gyro_X != Raw_Gyro[0] || Last_Raw_Gyro_Y != Raw_Gyro[1] || Last_Raw_Gyro_Z != Raw_Gyro[2] ||
					Last_Raw_Accel_X != Raw_Accel[0] || Last_Raw_Accel_Y != Raw_Accel[1] || Last_Raw_Accel_Z != Raw_Accel[2] )
	{
		Last_Raw_Gyro_X = Raw_Gyro[0];
		Last_Raw_Gyro_Y = Raw_Gyro[1];
		Last_Raw_Gyro_Z = Raw_Gyro[2];
		Last_Raw_Accel_X = Raw_Accel[0];
		Last_Raw_Accel_Y = Raw_Accel[1];
		Last_Raw_Accel_Z = Raw_Accel[2];
		//Preparing Filter's Data
		#ifdef TEENSIZE
		GX = ((-1*Raw_Gyro[1]) / 16.4);
		GY = (Raw_Gyro[0] / 16.4);
		GZ = (Raw_Gyro[2] / 16.4);
		AX = ((-1*Raw_Accel[1]) / 2048.0);
		AY = (Raw_Accel[0] / 2048.0);
		AZ = (Raw_Accel[2] / 2048.0);
		#endif

		#ifdef KIDSIZE
		GX = (Raw_Gyro[1] / 16.4);
		GY = ((-1*Raw_Gyro[0]) / 16.4);
		GZ = (Raw_Gyro[2] / 16.4);
		AX = (Raw_Accel[1] / 2048.0);
		AY = ((-1*Raw_Accel[0]) / 2048.0);
		AZ = (Raw_Accel[2] / 2048.0);
		#endif
		//Degree To Radian
		GX = GX / (180.0 / M_PI);
		GY = GY / (180.0 / M_PI);
		GZ = GZ / (180.0 / M_PI);
		//Smaple Time Update
		SB_Timer_Value = __HAL_TIM_GetCounter(&htim2) * SB_Timer_Scale;
		__HAL_TIM_SetCounter(&htim2,0);
		//Filter Update Function
		Est.update(SB_Timer_Value,GX,GY,GZ,AX,AY,AZ,0,0,0);
		Roll = Est.eulerRoll();
		Pitch = Est.eulerPitch();
		Yaw = Est.eulerYaw();
	}
}
/////////////////////////////////////////////////////////////////////////////////////////////////////////////////
/////////////////////////////////////////////////////////////////////////////////////////////////////////////////
//Update Push-Button(s) data
/////////////////////////////////////////////////////////////////////////////////////////////////////////////////
void Button_Update(void)
{
	Switch4_State = (HAL_GPIO_ReadPin(SW4_GPIO_Port, SW4_Pin) ^ 0x01) << 0;
	Switch3_State = (HAL_GPIO_ReadPin(SW3_GPIO_Port, SW3_Pin) ^ 0x01) << 1;
	Switch2_State = (HAL_GPIO_ReadPin(SW2_GPIO_Port, SW2_Pin) ^ 0x01) << 2;
	Switch1_State = (HAL_GPIO_ReadPin(SW1_GPIO_Port, SW1_Pin) ^ 0x01) << 3;
}
/////////////////////////////////////////////////////////////////////////////////////////////////////////////////
/////////////////////////////////////////////////////////////////////////////////////////////////////////////////
//Read Battery Voltage
/////////////////////////////////////////////////////////////////////////////////////////////////////////////////
double ReadVoltage(void)
{
	uint32_t raw_adc = 0;
  double volt = 0;

	HAL_ADC_Start(&hadc1);
	HAL_ADC_PollForConversion(&hadc1, 10);
	raw_adc = HAL_ADC_GetValue(&hadc1);
	volt = raw_adc * BATT_SCALE;
	HAL_ADC_Stop(&hadc1);

	return volt;
}
/////////////////////////////////////////////////////////////////////////////////////////////////////////////////
/////////////////////////////////////////////////////////////////////////////////////////////////////////////////
//Battery Update
/////////////////////////////////////////////////////////////////////////////////////////////////////////////////
void Battery_Update(void)
{
	double volt = 0;

	volt = ReadVoltage();

	if(volt <= BATT_TRESHOLD)
	{
		SB_LowBatteryCounter++;
	}
	else
	{
		SB_LowBatteryCounter -= SB_LowBatteryCounter >> 1;
	}
	if(SB_LowBatteryCounter >= 200)
	{
		HAL_TIM_PWM_Start(&htim5, TIM_CHANNEL_4);
		TIM5->CCR1 = 50;
		SB_BuzzerState = 1;
	}
	else if(SB_BuzzerState == 1 && SB_LowBatteryCounter < 10)
	{
		HAL_TIM_PWM_Stop(&htim5, TIM_CHANNEL_4);
		SB_BuzzerState = 0;
	}
	BatteryVoltage = volt;
}
/////////////////////////////////////////////////////////////////////////////////////////////////////////////////
/////////////////////////////////////////////////////////////////////////////////////////////////////////////////
//Update LookUp Table
/////////////////////////////////////////////////////////////////////////////////////////////////////////////////
void LookUpTable_Update(void)
{
	//Preparing IMU's Data for 8Bit UART Buffer
	#ifdef TEENSIZE
	Shifted_Gyro_X  = (-1*Raw_Gyro[1]) + 32768;	  //Converting the Gyro_X to 16-bit Variable
	Shifted_Gyro_Y  = (Raw_Gyro[0]) + 32768;	  //Converting the Gyro_Y to 16-bit Variable
	Shifted_Gyro_Z  = (Raw_Gyro[2]) + 32768; 	//Converting the Gyro_Z to 16-bit Variable

	Shifted_Accel_X = (-1*Raw_Accel[1]) + 32768;	//Converting the Accel_X to 16-bit Variable
	Shifted_Accel_Y = (Raw_Accel[0]) + 32768;	//Converting the Accel_Y to 16-bit Variable
	Shifted_Accel_Z = (Raw_Accel[2]) + 32768;	//Converting the Accel_Z to 16-bit Variable
	#endif

	#ifdef KIDSIZE
	Shifted_Gyro_X  = (Raw_Gyro[1]) + 32768;	  //Converting the Gyro_X to 16-bit Variable
	Shifted_Gyro_Y  = (-1*Raw_Gyro[0]) + 32768;	  //Converting the Gyro_Y to 16-bit Variable
	Shifted_Gyro_Z  = (Raw_Gyro[2]) + 32768; 	//Converting the Gyro_Z to 16-bit Variable

	Shifted_Accel_X = (Raw_Accel[1]) + 32768;	//Converting the Accel_X to 16-bit Variable
	Shifted_Accel_Y = (-1*Raw_Accel[0]) + 32768;	//Converting the Accel_Y to 16-bit Variable
	Shifted_Accel_Z = (Raw_Accel[2]) + 32768;	//Converting the Accel_Z to 16-bit Variable
	#endif
	//Preparing Filter's Data for 8Bit UART Buffer
	Shifted_Roll = (Roll + M_PI) * 10000;        	//[ -PI   , +PI   ]
	Shifted_Pitch = (Pitch + M_PI) * 10000;	      //[ -PI/2 , +PI/2 ]
	Shifted_Yaw = (Yaw + M_PI) * 10000;	          //[ -PI   , +PI   ]
	//Preparing Battery's Data for 8Bit UART Buffer
	Shifted_BatteryVoltage = (uint8_t) (BatteryVoltage * 10);

	LookupTable[0]  = Shifted_Gyro_X;             //Save 8-bits of the First Part of Gyro_X
	LookupTable[1]  = Shifted_Gyro_X >> 8;	      //Saving 8 bits of the last part of Gyro_X
	LookupTable[2]  = Shifted_Gyro_Y;	            //Save 8-bits of the First Part of Gyro_Y
	LookupTable[3]  = Shifted_Gyro_Y >> 8;	      //Saving 8 bits of the last part of Gyro_Y
	LookupTable[4]  = Shifted_Gyro_Z;	            //Save 8-bits of the First Part of Gyro_Z
	LookupTable[5]  = Shifted_Gyro_Z >> 8;	      //Saving 8 bits of the last part of Gyro_Z

	LookupTable[6]  = Shifted_Accel_X;	          //Save 8-bits of the First Part of Accel_X
	LookupTable[7]  = Shifted_Accel_X >> 8;	      //Saving 8 bits of the last part of Accel_X
	LookupTable[8]  = Shifted_Accel_Y;	          //Save 8-bits of the First Part of Accel_Y
	LookupTable[9]  = Shifted_Accel_Y >> 8;	      //Saving 8 bits of the last part of Accel_Y
	LookupTable[10] = Shifted_Accel_Z;	          //Save 8-bits of the First Part of Accel_Z
	LookupTable[11] = Shifted_Accel_Z >> 8;	      //Saving 8 bits of the last part of Accel_Z

	LookupTable[12] = Shifted_Roll;	              //Save 8-bits of the First Part of Roll
	LookupTable[13] = Shifted_Roll >> 8;	        //Saving 8 bits of the last part of Roll
	LookupTable[14] = Shifted_Pitch;	            //Save 8-bits of the First Part of Pitch
	LookupTable[15] = Shifted_Pitch >> 8;	        //Saving 8 bits of the last part of Pitch
	LookupTable[16] = Shifted_Yaw;	              //Save 8-bits of the First Part of Yaw
	LookupTable[17] = Shifted_Yaw >> 8;	          //Saving 8 bits of the last part of Yaw

	LookupTable[30] = Switch1_State + Switch2_State + Switch3_State + Switch4_State;

	LookupTable[50] = Shifted_BatteryVoltage;

	LookupTable[60] = Calibrated;
	LookupTable[61] = EERead_GX_OFF;
	LookupTable[62] = EERead_GY_OFF;
	LookupTable[63] = EERead_GZ_OFF;
	LookupTable[64] = EERead_AX_OFF;
	LookupTable[65] = EERead_AY_OFF;
	LookupTable[66] = EERead_AZ_OFF;
}
/////////////////////////////////////////////////////////////////////////////////////////////////////////////////
/////////////////////////////////////////////////////////////////////////////////////////////////////////////////
//Struct Initializer
/////////////////////////////////////////////////////////////////////////////////////////////////////////////////
void Struct_Initializer(USBLineTypeDef* stct)
{
	stct->InputData = 0;
	stct->Length = 0;
	stct->CurrentState = 0;
	stct->BufferCurrentIndex = 0;
	stct->BufferLastIndex = 0;
}
/////////////////////////////////////////////////////////////////////////////////////////////////////////////////
/////////////////////////////////////////////////////////////////////////////////////////////////////////////////
//Debug function
/////////////////////////////////////////////////////////////////////////////////////////////////////////////////
void Debugger(void)
{
	if((huart1.gState == HAL_UART_STATE_BUSY_TX) && ((huart1.Instance->CR1 & USART_CR1_TXEIE) == RESET) && (huart1.TxXferCount == huart1.TxXferSize))
	{
		SET_BIT(huart1.Instance->CR1, USART_CR1_TXEIE);
	}
	if((huart3.gState == HAL_UART_STATE_BUSY_TX) && ((huart3.Instance->CR1 & USART_CR1_TXEIE) == RESET) && (huart3.TxXferCount == huart3.TxXferSize))
	{
		SET_BIT(huart3.Instance->CR1, USART_CR1_TXEIE);
	}
	if((huart5.gState == HAL_UART_STATE_BUSY_TX) && ((huart5.Instance->CR1 & USART_CR1_TXEIE) == RESET) && (huart5.TxXferCount == huart5.TxXferSize))
	{
		SET_BIT(huart5.Instance->CR1, USART_CR1_TXEIE);
	}
	if((huart6.gState == HAL_UART_STATE_BUSY_TX) && ((huart6.Instance->CR1 & USART_CR1_TXEIE) == RESET) && (huart6.TxXferCount == huart6.TxXferSize))
	{
		SET_BIT(huart6.Instance->CR1, USART_CR1_TXEIE);
	}
}
/////////////////////////////////////////////////////////////////////////////////////////////////////////////////
/////////////////////////////////////////////////////////////////////////////////////////////////////////////////
//IMU OffLine Calibration
/////////////////////////////////////////////////////////////////////////////////////////////////////////////////
void Calibration(void)
{
	int16_t count = 0;
	while(EE_Format() != HAL_OK);
	int16_t temp[6];
	int32_t sum[6] = {0, 0, 0, 0, 0, 0};

	while(count < 4000)
	{
		MPU9250_ReadData(&hspi1, IMU_Buffer, MPU9250_ACCEL_XOUT_H, 14);	//Read Gyro and Accel data
		temp[0] = IMU_Buffer[0] << 8;
		temp[0] |= IMU_Buffer[1];
		temp[1] = IMU_Buffer[2] << 8;
		temp[1] |= IMU_Buffer[3];
		temp[2] = IMU_Buffer[4] << 8;
		temp[2] |= IMU_Buffer[5];
		temp[3] = IMU_Buffer[8] << 8;
		temp[3] |= IMU_Buffer[9];
		temp[4] = IMU_Buffer[10] << 8;
		temp[4] |= IMU_Buffer[11];
		temp[5] = IMU_Buffer[12] << 8;
		temp[5] |= IMU_Buffer[13];
		sum[0] += temp[0];
		sum[1] += temp[1];
		sum[2] += temp[2];
		sum[3] += temp[3];
		sum[4] += temp[4];
		sum[5] += temp[5];
		CHECK++;
		count++;
		HAL_Delay(2);
	}
	AX_Off = (sum[0] / count);
	AY_Off = (sum[1] / count);
	AZ_Off = (sum[2] / count);
	GX_Off = (sum[3] / count);
	GY_Off = (sum[4] / count);
	GZ_Off = (sum[5] / count);
	set_offset();
}
void set_offset(void)
{
//--------------------------------------------
	EERead_GX_OFF = -1 * GX_Off;
	EERead_GY_OFF = -1 * GY_Off;
	EERead_GZ_OFF = -1 * GZ_Off;

	EERead_AX_OFF = -1 * AX_Off;
	EERead_AY_OFF = -1 * AY_Off;
	EERead_AZ_OFF = 2048 - AZ_Off;

//___________________Write To EEPROM___________________
	EE_WriteVariable(0, EERead_GX_OFF);
	EE_WriteVariable(1, EERead_GY_OFF);
	EE_WriteVariable(2, EERead_GZ_OFF);
	EE_WriteVariable(3, EERead_AX_OFF);
	EE_WriteVariable(4, EERead_AY_OFF);
	EE_WriteVariable(5, EERead_AZ_OFF);

	Calibrated = 10;	//10 means Caliration is Finished.
}
/* USER CODE END 4 */

void Error_Handler(void)
{
  while(1)
  {
  }
}
